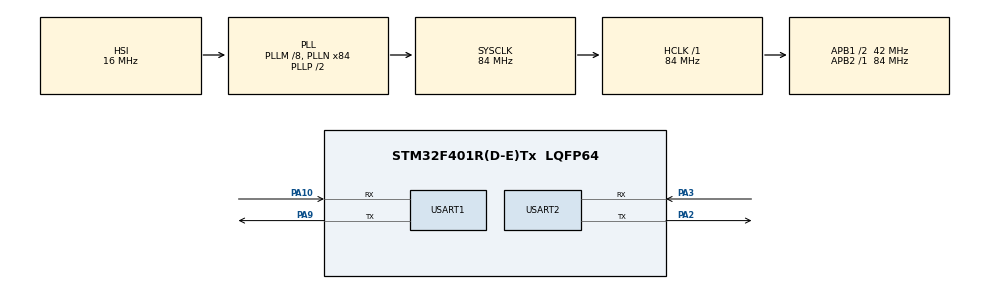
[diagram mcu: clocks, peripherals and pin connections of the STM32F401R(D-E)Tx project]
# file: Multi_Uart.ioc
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Mcu.Family=STM32F4
Mcu.Name=STM32F401R(D-E)Tx
Mcu.Package=LQFP64
NVIC.PriorityGroup=NVIC_PRIORITYGROUP_4
NVIC.USART1_IRQn=true\:0\:0\:false\:false\:true\:true\:true
NVIC.USART2_IRQn=true\:0\:0\:false\:false\:true\:true\:true
PA10.Mode=Asynchronous
PA10.Signal=USART1_RX
PA13.Mode=Serial_Wire
PA13.Signal=SYS_JTMS-SWDIO
PA14.Mode=Serial_Wire
PA14.Signal=SYS_JTCK-SWCLK
PA2.Mode=Asynchronous
PA2.Signal=USART2_TX
PA3.Mode=Asynchronous
PA3.Signal=USART2_RX
PA9.Mode=Asynchronous
PA9.Signal=USART1_TX
PH0\ -\ OSC_IN.Mode=HSE-External-Oscillator
PH0\ -\ OSC_IN.Signal=RCC_OSC_IN
PH1\ -\ OSC_OUT.Mode=HSE-External-Oscillator
PH1\ -\ OSC_OUT.Signal=RCC_OSC_OUT
ProjectManager.HeapSize=0x200
ProjectManager.StackSize=0x400
ProjectManager.TargetToolchain=STM32CubeIDE
RCC.48MHZClocksFreq_Value=42000000
RCC.AHBFreq_Value=84000000
RCC.APB1CLKDivider=RCC_HCLK_DIV2
RCC.APB1Freq_Value=42000000
RCC.APB1TimFreq_Value=84000000
RCC.APB2Freq_Value=84000000
RCC.APB2TimFreq_Value=84000000
RCC.CortexFreq_Value=84000000
RCC.HCLKFreq_Value=84000000
RCC.HSE_VALUE=8000000
RCC.HSI_VALUE=16000000
RCC.LSE_VALUE=32768
RCC.PLLM=8
RCC.PLLN=84
RCC.SYSCLKFreq_VALUE=84000000
RCC.SYSCLKSource=RCC_SYSCLKSOURCE_PLLCLK
RCC.VCOOutputFreq_Value=168000000
USART1.VirtualMode=VM_ASYNC
USART2.VirtualMode=VM_ASYNC
board=custom

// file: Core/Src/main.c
/* USER CODE BEGIN Header */
/**
  ******************************************************************************
  * @file           : main.c
  * @brief          : Main program body
  ******************************************************************************
  * @attention
  *
  * Copyright (c) 2023 STMicroelectronics.
  * All rights reserved.
  *
  * This software is licensed under terms that can be found in the LICENSE file
  * in the root directory of this software component.
  * If no LICENSE file comes with this software, it is provided AS-IS.
  *
  ******************************************************************************
  */
/* USER CODE END Header */
#include "main.h"

/* USER CODE BEGIN Includes */
#include "UartRingbuffer_multi.h"
/* USER CODE END Includes */

UART_HandleTypeDef huart1;
UART_HandleTypeDef huart2;

void SystemClock_Config(void);
static void MX_GPIO_Init(void);
static void MX_USART1_UART_Init(void);
static void MX_USART2_UART_Init(void);

/* USER CODE BEGIN 0 */
int __io_putchar(int ch)
{
    if (ch == '\n') {
        uint8_t ch2 = '\r';
        HAL_UART_Transmit(&huart2, &ch2, 1, HAL_MAX_DELAY);
    }

    HAL_UART_Transmit(&huart2, (uint8_t*)&ch, 1, HAL_MAX_DELAY);
    return 1;
}
#define wifi_uart &huart1
#define pc_uart &huart2
/* USER CODE END 0 */

int main(void)
{

  /* MCU Configuration--------------------------------------------------------*/

  /* Reset of all peripherals, Initializes the Flash interface and the Systick. */
  HAL_Init();

  /* Configure the system clock */
  SystemClock_Config();

  /* Initialize all configured peripherals */
  MX_GPIO_Init();
  MX_USART1_UART_Init();
  MX_USART2_UART_Init();
  /* USER CODE BEGIN 2 */
Ringbuf_init();
  /* USER CODE END 2 */

  /* Infinite loop */
  while (1)
  {

    /* USER CODE BEGIN 3 */
	  if(IsDataAvailable(pc_uart))
	  {
		  int data = Uart_read(pc_uart);
		  Uart_write(data, wifi_uart);
	  }
	  if(IsDataAvailable(wifi_uart))
		  {
			  int data = Uart_read(wifi_uart);
			  Uart_write(data, pc_uart);
		  }
  }
  /* USER CODE END 3 */
}

void SystemClock_Config(void)
{
  RCC_OscInitTypeDef RCC_OscInitStruct = {0};
  RCC_ClkInitTypeDef RCC_ClkInitStruct = {0};

  /** Configure the main internal regulator output voltage
  */
  __HAL_RCC_PWR_CLK_ENABLE();
  __HAL_PWR_VOLTAGESCALING_CONFIG(PWR_REGULATOR_VOLTAGE_SCALE2);
  /** Initializes the RCC Oscillators according to the specified parameters
  * in the RCC_OscInitTypeDef structure.
  */
  RCC_OscInitStruct.OscillatorType = RCC_OSCILLATORTYPE_HSI;
  RCC_OscInitStruct.HSIState = RCC_HSI_ON;
  RCC_OscInitStruct.HSICalibrationValue = RCC_HSICALIBRATION_DEFAULT;
  RCC_OscInitStruct.PLL.PLLState = RCC_PLL_ON;
  RCC_OscInitStruct.PLL.PLLSource = RCC_PLLSOURCE_HSI;
  RCC_OscInitStruct.PLL.PLLM = 8;
  RCC_OscInitStruct.PLL.PLLN = 84;
  RCC_OscInitStruct.PLL.PLLP = RCC_PLLP_DIV2;
  RCC_OscInitStruct.PLL.PLLQ = 4;
  if (HAL_RCC_OscConfig(&RCC_OscInitStruct) != HAL_OK)
  {
    Error_Handler();
  }
  /** Initializes the CPU, AHB and APB buses clocks
  */
  RCC_ClkInitStruct.ClockType = RCC_CLOCKTYPE_HCLK|RCC_CLOCKTYPE_SYSCLK
                              |RCC_CLOCKTYPE_PCLK1|RCC_CLOCKTYPE_PCLK2;
  RCC_ClkInitStruct.SYSCLKSource = RCC_SYSCLKSOURCE_PLLCLK;
  RCC_ClkInitStruct.AHBCLKDivider = RCC_SYSCLK_DIV1;
  RCC_ClkInitStruct.APB1CLKDivider = RCC_HCLK_DIV2;
  RCC_ClkInitStruct.APB2CLKDivider = RCC_HCLK_DIV1;

  if (HAL_RCC_ClockConfig(&RCC_ClkInitStruct, FLASH_LATENCY_2) != HAL_OK)
  {
    Error_Handler();
  }
}

static void MX_USART1_UART_Init(void)
{

  huart1.Instance = USART1;
  huart1.Init.BaudRate = 115200;
  huart1.Init.WordLength = UART_WORDLENGTH_8B;
  huart1.Init.StopBits = UART_STOPBITS_1;
  huart1.Init.Parity = UART_PARITY_NONE;
  huart1.Init.Mode = UART_MODE_TX_RX;
  huart1.Init.HwFlowCtl = UART_HWCONTROL_NONE;
  huart1.Init.OverSampling = UART_OVERSAMPLING_16;
  if (HAL_UART_Init(&huart1) != HAL_OK)
  {
    Error_Handler();
  }

}

static void MX_USART2_UART_Init(void)
{

  huart2.Instance = USART2;
  huart2.Init.BaudRate = 115200;
  huart2.Init.WordLength = UART_WORDLENGTH_8B;
  huart2.Init.StopBits = UART_STOPBITS_1;
  huart2.Init.Parity = UART_PARITY_NONE;
  huart2.Init.Mode = UART_MODE_TX_RX;
  huart2.Init.HwFlowCtl = UART_HWCONTROL_NONE;
  huart2.Init.OverSampling = UART_OVERSAMPLING_16;
  if (HAL_UART_Init(&huart2) != HAL_OK)
  {
    Error_Handler();
  }

}

static void MX_GPIO_Init(void)
{

  /* GPIO Ports Clock Enable */
  __HAL_RCC_GPIOH_CLK_ENABLE();
  __HAL_RCC_GPIOA_CLK_ENABLE();

}

void Error_Handler(void)
{
  __disable_irq();
  while (1)
  {
  }
}
